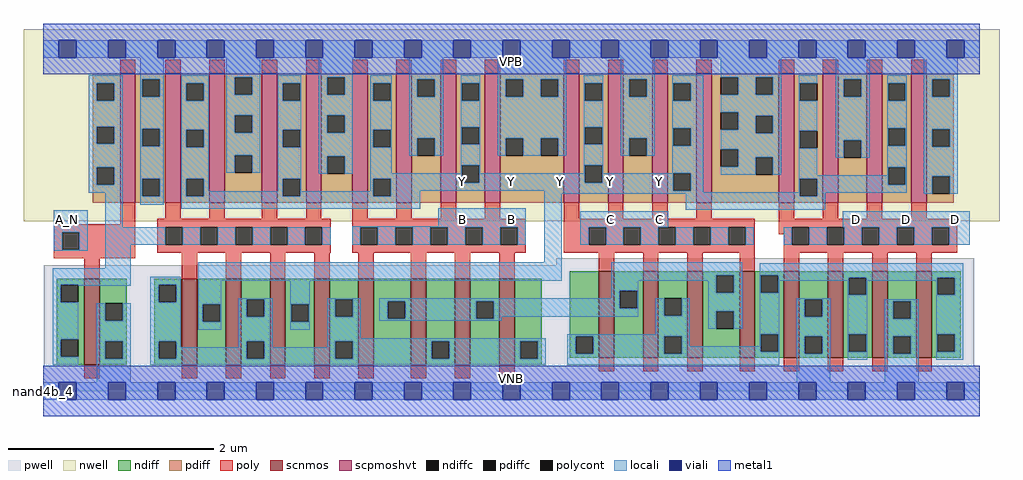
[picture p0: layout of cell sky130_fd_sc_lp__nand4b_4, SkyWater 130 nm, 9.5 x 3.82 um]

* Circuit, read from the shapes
.subckt sky130_fd_sc_lp__nand4b_4 A_N B C D VGND VNB VPB VPWR Y
XM1 VGND A_N n1 VNB sky130_fd_pr__nfet_01v8 w=0.84 l=0.15
XM2 Y n1 n2 VNB sky130_fd_pr__nfet_01v8 w=0.84 l=0.15 m=4
XM3 n3 B n2 VNB sky130_fd_pr__nfet_01v8 w=0.84 l=0.15 m=4
XM4 n3 C n4 VNB sky130_fd_pr__nfet_01v8 w=0.84 l=0.15 m=4
XM5 VGND D n4 VNB sky130_fd_pr__nfet_01v8 w=0.84 l=0.15 m=4
XM6 VPWR A_N n1 VPB sky130_fd_pr__pfet_01v8_hvt w=1.26 l=0.15
XM7 Y n1 VPWR VPB sky130_fd_pr__pfet_01v8_hvt w=1.26 l=0.15 m=4
XM8 Y B VPWR VPB sky130_fd_pr__pfet_01v8_hvt w=1.26 l=0.15 m=4
XM9 Y C VPWR VPB sky130_fd_pr__pfet_01v8_hvt w=1.26 l=0.15 m=4
XM10 Y D VPWR VPB sky130_fd_pr__pfet_01v8_hvt w=1.26 l=0.15 m=4
.ends

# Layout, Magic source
magic
tech sky130A
magscale 1 2
<< nwell >>
rect -38 331 1862 704
<< pwell >>
rect 999 245 1813 259
rect 1 49 1813 245
rect 0 0 1824 49
<< scnmos >>
rect 80 51 110 219
rect 270 51 300 219
rect 356 51 386 219
rect 442 51 472 219
rect 528 51 558 219
rect 614 51 644 219
rect 716 51 746 219
rect 802 51 832 219
rect 888 51 918 219
rect 1082 65 1112 233
rect 1168 65 1198 233
rect 1254 65 1284 233
rect 1356 65 1386 233
rect 1442 65 1472 233
rect 1528 65 1558 233
rect 1614 65 1644 233
rect 1700 65 1730 233
<< scpmoshvt >>
rect 150 367 180 619
rect 238 367 268 619
rect 324 367 354 619
rect 426 367 456 619
rect 512 367 542 619
rect 602 367 632 619
rect 688 367 718 619
rect 774 367 804 619
rect 860 367 890 619
rect 1014 367 1044 619
rect 1100 367 1130 619
rect 1186 367 1216 619
rect 1272 367 1302 619
rect 1432 367 1462 619
rect 1518 367 1548 619
rect 1604 367 1634 619
rect 1690 367 1720 619
<< ndiff >>
rect 27 207 80 219
rect 27 173 35 207
rect 69 173 80 207
rect 27 101 80 173
rect 27 67 35 101
rect 69 67 80 101
rect 27 51 80 67
rect 110 171 163 219
rect 110 137 121 171
rect 155 137 163 171
rect 110 97 163 137
rect 110 63 121 97
rect 155 63 163 97
rect 110 51 163 63
rect 217 207 270 219
rect 217 173 225 207
rect 259 173 270 207
rect 217 97 270 173
rect 217 63 225 97
rect 259 63 270 97
rect 217 51 270 63
rect 300 169 356 219
rect 300 135 311 169
rect 345 135 356 169
rect 300 51 356 135
rect 386 179 442 219
rect 386 145 397 179
rect 431 145 442 179
rect 386 97 442 145
rect 386 63 397 97
rect 431 63 442 97
rect 386 51 442 63
rect 472 169 528 219
rect 472 135 483 169
rect 517 135 528 169
rect 472 51 528 135
rect 558 179 614 219
rect 558 145 569 179
rect 603 145 614 179
rect 558 97 614 145
rect 558 63 569 97
rect 603 63 614 97
rect 558 51 614 63
rect 644 175 716 219
rect 644 141 671 175
rect 705 141 716 175
rect 644 51 716 141
rect 746 97 802 219
rect 746 63 757 97
rect 791 63 802 97
rect 746 51 802 63
rect 832 175 888 219
rect 832 141 843 175
rect 877 141 888 175
rect 832 51 888 141
rect 918 97 971 219
rect 918 63 929 97
rect 963 63 971 97
rect 1025 107 1082 233
rect 1025 73 1037 107
rect 1071 73 1082 107
rect 1025 65 1082 73
rect 1112 195 1168 233
rect 1112 161 1123 195
rect 1157 161 1168 195
rect 1112 65 1168 161
rect 1198 181 1254 233
rect 1198 147 1209 181
rect 1243 147 1254 181
rect 1198 107 1254 147
rect 1198 73 1209 107
rect 1243 73 1254 107
rect 1198 65 1254 73
rect 1284 225 1356 233
rect 1284 191 1311 225
rect 1345 191 1356 225
rect 1284 155 1356 191
rect 1284 121 1311 155
rect 1345 121 1356 155
rect 1284 65 1356 121
rect 1386 225 1442 233
rect 1386 191 1397 225
rect 1431 191 1442 225
rect 1386 111 1442 191
rect 1386 77 1397 111
rect 1431 77 1442 111
rect 1386 65 1442 77
rect 1472 179 1528 233
rect 1472 145 1483 179
rect 1517 145 1528 179
rect 1472 107 1528 145
rect 1472 73 1483 107
rect 1517 73 1528 107
rect 1472 65 1528 73
rect 1558 221 1614 233
rect 1558 187 1569 221
rect 1603 187 1614 221
rect 1558 111 1614 187
rect 1558 77 1569 111
rect 1603 77 1614 111
rect 1558 65 1614 77
rect 1644 175 1700 233
rect 1644 141 1655 175
rect 1689 141 1700 175
rect 1644 107 1700 141
rect 1644 73 1655 107
rect 1689 73 1700 107
rect 1644 65 1700 73
rect 1730 221 1787 233
rect 1730 187 1741 221
rect 1775 187 1787 221
rect 1730 111 1787 187
rect 1730 77 1741 111
rect 1775 77 1787 111
rect 1730 65 1787 77
rect 918 51 971 63
<< pdiff >>
rect 97 599 150 619
rect 97 565 105 599
rect 139 565 150 599
rect 97 515 150 565
rect 97 481 105 515
rect 139 481 150 515
rect 97 436 150 481
rect 97 402 105 436
rect 139 402 150 436
rect 97 367 150 402
rect 180 607 238 619
rect 180 573 193 607
rect 227 573 238 607
rect 180 511 238 573
rect 180 477 193 511
rect 227 477 238 511
rect 180 413 238 477
rect 180 379 193 413
rect 227 379 238 413
rect 180 367 238 379
rect 268 599 324 619
rect 268 565 279 599
rect 313 565 324 599
rect 268 509 324 565
rect 268 475 279 509
rect 313 475 324 509
rect 268 413 324 475
rect 268 379 279 413
rect 313 379 324 413
rect 268 367 324 379
rect 354 611 426 619
rect 354 577 373 611
rect 407 577 426 611
rect 354 537 426 577
rect 354 503 373 537
rect 407 503 426 537
rect 354 459 426 503
rect 354 425 373 459
rect 407 425 426 459
rect 354 367 426 425
rect 456 599 512 619
rect 456 565 467 599
rect 501 565 512 599
rect 456 509 512 565
rect 456 475 467 509
rect 501 475 512 509
rect 456 413 512 475
rect 456 379 467 413
rect 501 379 512 413
rect 456 367 512 379
rect 542 611 602 619
rect 542 577 553 611
rect 587 577 602 611
rect 542 537 602 577
rect 542 503 553 537
rect 587 503 602 537
rect 542 457 602 503
rect 542 423 553 457
rect 587 423 602 457
rect 542 367 602 423
rect 632 599 688 619
rect 632 565 643 599
rect 677 565 688 599
rect 632 509 688 565
rect 632 475 643 509
rect 677 475 688 509
rect 632 413 688 475
rect 632 379 643 413
rect 677 379 688 413
rect 632 367 688 379
rect 718 607 774 619
rect 718 573 729 607
rect 763 573 774 607
rect 718 492 774 573
rect 718 458 729 492
rect 763 458 774 492
rect 718 367 774 458
rect 804 599 860 619
rect 804 565 815 599
rect 849 565 860 599
rect 804 514 860 565
rect 804 480 815 514
rect 849 480 860 514
rect 804 440 860 480
rect 804 406 815 440
rect 849 406 860 440
rect 804 367 860 406
rect 890 607 1014 619
rect 890 573 901 607
rect 935 573 969 607
rect 1003 573 1014 607
rect 890 492 1014 573
rect 890 458 901 492
rect 935 458 969 492
rect 1003 458 1014 492
rect 890 367 1014 458
rect 1044 599 1100 619
rect 1044 565 1055 599
rect 1089 565 1100 599
rect 1044 514 1100 565
rect 1044 480 1055 514
rect 1089 480 1100 514
rect 1044 440 1100 480
rect 1044 406 1055 440
rect 1089 406 1100 440
rect 1044 367 1100 406
rect 1130 607 1186 619
rect 1130 573 1141 607
rect 1175 573 1186 607
rect 1130 492 1186 573
rect 1130 458 1141 492
rect 1175 458 1186 492
rect 1130 367 1186 458
rect 1216 599 1272 619
rect 1216 565 1227 599
rect 1261 565 1272 599
rect 1216 512 1272 565
rect 1216 478 1227 512
rect 1261 478 1272 512
rect 1216 424 1272 478
rect 1216 390 1227 424
rect 1261 390 1272 424
rect 1216 367 1272 390
rect 1302 611 1432 619
rect 1302 577 1319 611
rect 1353 577 1387 611
rect 1421 577 1432 611
rect 1302 543 1432 577
rect 1302 509 1319 543
rect 1353 536 1432 543
rect 1353 509 1387 536
rect 1302 502 1387 509
rect 1421 502 1432 536
rect 1302 471 1432 502
rect 1302 437 1319 471
rect 1353 455 1432 471
rect 1353 437 1387 455
rect 1302 421 1387 437
rect 1421 421 1432 455
rect 1302 367 1432 421
rect 1462 599 1518 619
rect 1462 565 1473 599
rect 1507 565 1518 599
rect 1462 507 1518 565
rect 1462 473 1473 507
rect 1507 473 1518 507
rect 1462 413 1518 473
rect 1462 379 1473 413
rect 1507 379 1518 413
rect 1462 367 1518 379
rect 1548 607 1604 619
rect 1548 573 1559 607
rect 1593 573 1604 607
rect 1548 488 1604 573
rect 1548 454 1559 488
rect 1593 454 1604 488
rect 1548 367 1604 454
rect 1634 599 1690 619
rect 1634 565 1645 599
rect 1679 565 1690 599
rect 1634 512 1690 565
rect 1634 478 1645 512
rect 1679 478 1690 512
rect 1634 436 1690 478
rect 1634 402 1645 436
rect 1679 402 1690 436
rect 1634 367 1690 402
rect 1720 607 1773 619
rect 1720 573 1731 607
rect 1765 573 1773 607
rect 1720 510 1773 573
rect 1720 476 1731 510
rect 1765 476 1773 510
rect 1720 418 1773 476
rect 1720 384 1731 418
rect 1765 384 1773 418
rect 1720 367 1773 384
<< ndiffc >>
rect 35 173 69 207
rect 35 67 69 101
rect 121 137 155 171
rect 121 63 155 97
rect 225 173 259 207
rect 225 63 259 97
rect 311 135 345 169
rect 397 145 431 179
rect 397 63 431 97
rect 483 135 517 169
rect 569 145 603 179
rect 569 63 603 97
rect 671 141 705 175
rect 757 63 791 97
rect 843 141 877 175
rect 929 63 963 97
rect 1037 73 1071 107
rect 1123 161 1157 195
rect 1209 147 1243 181
rect 1209 73 1243 107
rect 1311 191 1345 225
rect 1311 121 1345 155
rect 1397 191 1431 225
rect 1397 77 1431 111
rect 1483 145 1517 179
rect 1483 73 1517 107
rect 1569 187 1603 221
rect 1569 77 1603 111
rect 1655 141 1689 175
rect 1655 73 1689 107
rect 1741 187 1775 221
rect 1741 77 1775 111
<< pdiffc >>
rect 105 565 139 599
rect 105 481 139 515
rect 105 402 139 436
rect 193 573 227 607
rect 193 477 227 511
rect 193 379 227 413
rect 279 565 313 599
rect 279 475 313 509
rect 279 379 313 413
rect 373 577 407 611
rect 373 503 407 537
rect 373 425 407 459
rect 467 565 501 599
rect 467 475 501 509
rect 467 379 501 413
rect 553 577 587 611
rect 553 503 587 537
rect 553 423 587 457
rect 643 565 677 599
rect 643 475 677 509
rect 643 379 677 413
rect 729 573 763 607
rect 729 458 763 492
rect 815 565 849 599
rect 815 480 849 514
rect 815 406 849 440
rect 901 573 935 607
rect 969 573 1003 607
rect 901 458 935 492
rect 969 458 1003 492
rect 1055 565 1089 599
rect 1055 480 1089 514
rect 1055 406 1089 440
rect 1141 573 1175 607
rect 1141 458 1175 492
rect 1227 565 1261 599
rect 1227 478 1261 512
rect 1227 390 1261 424
rect 1319 577 1353 611
rect 1387 577 1421 611
rect 1319 509 1353 543
rect 1387 502 1421 536
rect 1319 437 1353 471
rect 1387 421 1421 455
rect 1473 565 1507 599
rect 1473 473 1507 507
rect 1473 379 1507 413
rect 1559 573 1593 607
rect 1559 454 1593 488
rect 1645 565 1679 599
rect 1645 478 1679 512
rect 1645 402 1679 436
rect 1731 573 1765 607
rect 1731 476 1765 510
rect 1731 384 1765 418
<< poly >>
rect 150 619 180 645
rect 238 619 268 645
rect 324 619 354 645
rect 426 619 456 645
rect 512 619 542 645
rect 602 619 632 645
rect 688 619 718 645
rect 774 619 804 645
rect 860 619 890 645
rect 1014 619 1044 645
rect 1100 619 1130 645
rect 1186 619 1216 645
rect 1272 619 1302 645
rect 1432 619 1462 645
rect 1518 619 1548 645
rect 1604 619 1634 645
rect 1690 619 1720 645
rect 150 325 180 367
rect 238 335 268 367
rect 324 335 354 367
rect 426 335 456 367
rect 512 335 542 367
rect 602 335 632 367
rect 688 335 718 367
rect 774 335 804 367
rect 860 335 890 367
rect 1014 335 1044 367
rect 1100 335 1130 367
rect 1186 335 1216 367
rect 1272 335 1302 367
rect 1432 335 1462 367
rect 1518 335 1548 367
rect 1604 335 1634 367
rect 1690 335 1720 367
rect 21 309 180 325
rect 21 275 37 309
rect 71 275 180 309
rect 21 259 180 275
rect 222 319 560 335
rect 222 285 238 319
rect 272 285 306 319
rect 340 285 374 319
rect 408 285 442 319
rect 476 285 510 319
rect 544 285 560 319
rect 222 269 560 285
rect 602 319 940 335
rect 602 285 618 319
rect 652 285 686 319
rect 720 285 754 319
rect 788 285 822 319
rect 856 285 890 319
rect 924 285 940 319
rect 602 269 940 285
rect 1014 319 1386 335
rect 1014 285 1062 319
rect 1096 285 1130 319
rect 1164 285 1198 319
rect 1232 285 1266 319
rect 1300 285 1334 319
rect 1368 285 1386 319
rect 1432 319 1780 335
rect 1432 305 1458 319
rect 1014 269 1386 285
rect 80 219 110 259
rect 270 219 300 269
rect 356 219 386 269
rect 442 219 472 269
rect 528 219 558 269
rect 614 219 644 269
rect 716 219 746 269
rect 802 219 832 269
rect 888 219 918 269
rect 1082 233 1112 269
rect 1168 233 1198 269
rect 1254 233 1284 269
rect 1356 233 1386 269
rect 1442 285 1458 305
rect 1492 285 1526 319
rect 1560 285 1594 319
rect 1628 285 1662 319
rect 1696 285 1730 319
rect 1764 285 1780 319
rect 1442 269 1780 285
rect 1442 233 1472 269
rect 1528 233 1558 269
rect 1614 233 1644 269
rect 1700 233 1730 269
rect 80 25 110 51
rect 270 25 300 51
rect 356 25 386 51
rect 442 25 472 51
rect 528 25 558 51
rect 614 25 644 51
rect 716 25 746 51
rect 802 25 832 51
rect 888 25 918 51
rect 1082 39 1112 65
rect 1168 39 1198 65
rect 1254 39 1284 65
rect 1356 39 1386 65
rect 1442 39 1472 65
rect 1528 39 1558 65
rect 1614 39 1644 65
rect 1700 39 1730 65
<< polycont >>
rect 37 275 71 309
rect 238 285 272 319
rect 306 285 340 319
rect 374 285 408 319
rect 442 285 476 319
rect 510 285 544 319
rect 618 285 652 319
rect 686 285 720 319
rect 754 285 788 319
rect 822 285 856 319
rect 890 285 924 319
rect 1062 285 1096 319
rect 1130 285 1164 319
rect 1198 285 1232 319
rect 1266 285 1300 319
rect 1334 285 1368 319
rect 1458 285 1492 319
rect 1526 285 1560 319
rect 1594 285 1628 319
rect 1662 285 1696 319
rect 1730 285 1764 319
<< locali >>
rect 0 649 31 683
rect 65 649 127 683
rect 161 649 223 683
rect 257 649 319 683
rect 353 649 415 683
rect 449 649 511 683
rect 545 649 607 683
rect 641 649 703 683
rect 737 649 799 683
rect 833 649 895 683
rect 929 649 991 683
rect 1025 649 1087 683
rect 1121 649 1183 683
rect 1217 649 1279 683
rect 1313 649 1375 683
rect 1409 649 1471 683
rect 1505 649 1567 683
rect 1601 649 1663 683
rect 1697 649 1759 683
rect 1793 649 1824 683
rect 89 599 155 615
rect 89 565 105 599
rect 139 565 155 599
rect 89 515 155 565
rect 89 481 105 515
rect 139 481 155 515
rect 89 436 155 481
rect 89 402 105 436
rect 139 402 155 436
rect 89 386 155 402
rect 21 309 87 352
rect 21 275 37 309
rect 71 275 87 309
rect 21 273 87 275
rect 121 319 155 386
rect 189 607 235 649
rect 189 573 193 607
rect 227 573 235 607
rect 189 511 235 573
rect 189 477 193 511
rect 227 477 235 511
rect 189 413 235 477
rect 189 379 193 413
rect 227 379 235 413
rect 189 363 235 379
rect 269 599 323 615
rect 269 565 279 599
rect 313 565 323 599
rect 269 509 323 565
rect 269 475 279 509
rect 313 475 323 509
rect 269 413 323 475
rect 357 611 423 649
rect 357 577 373 611
rect 407 577 423 611
rect 357 537 423 577
rect 357 503 373 537
rect 407 503 423 537
rect 357 459 423 503
rect 357 425 373 459
rect 407 425 423 459
rect 457 599 503 615
rect 457 565 467 599
rect 501 565 503 599
rect 457 509 503 565
rect 457 475 467 509
rect 501 475 503 509
rect 269 379 279 413
rect 313 389 323 413
rect 457 413 503 475
rect 537 611 603 649
rect 537 577 553 611
rect 587 577 603 611
rect 537 537 603 577
rect 537 503 553 537
rect 587 503 603 537
rect 537 457 603 503
rect 537 423 553 457
rect 587 423 603 457
rect 637 599 679 615
rect 637 565 643 599
rect 677 565 679 599
rect 637 509 679 565
rect 637 475 643 509
rect 677 475 679 509
rect 637 424 679 475
rect 713 607 779 649
rect 713 573 729 607
rect 763 573 779 607
rect 713 492 779 573
rect 713 458 729 492
rect 763 458 779 492
rect 813 599 851 615
rect 813 565 815 599
rect 849 565 851 599
rect 813 514 851 565
rect 813 480 815 514
rect 849 480 851 514
rect 813 440 851 480
rect 885 607 1019 649
rect 885 573 901 607
rect 935 573 969 607
rect 1003 573 1019 607
rect 885 492 1019 573
rect 885 458 901 492
rect 935 458 969 492
rect 1003 458 1019 492
rect 1053 599 1091 615
rect 1053 565 1055 599
rect 1089 565 1091 599
rect 1053 514 1091 565
rect 1053 480 1055 514
rect 1089 480 1091 514
rect 813 424 815 440
rect 457 389 467 413
rect 313 379 467 389
rect 501 389 503 413
rect 637 413 815 424
rect 637 389 643 413
rect 501 379 643 389
rect 677 406 815 413
rect 849 424 851 440
rect 1053 440 1091 480
rect 1125 607 1191 649
rect 1125 573 1141 607
rect 1175 573 1191 607
rect 1125 492 1191 573
rect 1125 458 1141 492
rect 1175 458 1191 492
rect 1225 599 1285 615
rect 1225 565 1227 599
rect 1261 565 1285 599
rect 1225 512 1285 565
rect 1225 478 1227 512
rect 1261 478 1285 512
rect 1053 424 1055 440
rect 849 406 1055 424
rect 1089 424 1091 440
rect 1225 424 1285 478
rect 1089 406 1227 424
rect 677 390 1227 406
rect 1261 390 1285 424
rect 1319 611 1437 649
rect 1353 577 1387 611
rect 1421 577 1437 611
rect 1319 543 1437 577
rect 1353 536 1437 543
rect 1353 509 1387 536
rect 1319 502 1387 509
rect 1421 502 1437 536
rect 1319 471 1437 502
rect 1353 455 1437 471
rect 1353 437 1387 455
rect 1319 421 1387 437
rect 1421 421 1437 455
rect 1471 599 1507 615
rect 1471 565 1473 599
rect 1471 507 1507 565
rect 1471 473 1473 507
rect 677 379 734 390
rect 269 355 734 379
rect 976 387 1285 390
rect 1471 420 1507 473
rect 1543 607 1609 649
rect 1543 573 1559 607
rect 1593 573 1609 607
rect 1543 488 1609 573
rect 1543 454 1559 488
rect 1593 454 1609 488
rect 1643 599 1681 615
rect 1643 565 1645 599
rect 1679 565 1681 599
rect 1643 512 1681 565
rect 1643 478 1645 512
rect 1679 478 1681 512
rect 1643 436 1681 478
rect 1643 420 1645 436
rect 1471 413 1645 420
rect 1471 387 1473 413
rect 976 384 1473 387
rect 769 321 940 356
rect 602 319 940 321
rect 121 285 238 319
rect 272 285 306 319
rect 340 285 374 319
rect 408 285 442 319
rect 476 285 510 319
rect 544 285 560 319
rect 602 285 618 319
rect 652 285 686 319
rect 720 285 754 319
rect 788 285 822 319
rect 856 285 890 319
rect 924 285 940 319
rect 121 239 171 285
rect 976 251 1010 384
rect 1251 379 1473 384
rect 1507 402 1645 413
rect 1679 402 1681 436
rect 1507 386 1681 402
rect 1715 607 1781 649
rect 1715 573 1731 607
rect 1765 573 1781 607
rect 1715 510 1781 573
rect 1715 476 1731 510
rect 1765 476 1781 510
rect 1715 418 1781 476
rect 1507 379 1523 386
rect 1715 384 1731 418
rect 1765 384 1781 418
rect 1251 353 1523 379
rect 1046 319 1217 350
rect 1557 319 1804 350
rect 1046 285 1062 319
rect 1096 285 1130 319
rect 1164 285 1198 319
rect 1232 285 1266 319
rect 1300 285 1334 319
rect 1368 285 1384 319
rect 1442 285 1458 319
rect 1492 285 1526 319
rect 1560 285 1594 319
rect 1628 285 1662 319
rect 1696 285 1730 319
rect 1764 285 1804 319
rect 19 207 171 239
rect 19 173 35 207
rect 69 205 171 207
rect 209 207 268 223
rect 19 101 69 173
rect 209 173 225 207
rect 259 173 268 207
rect 19 67 35 101
rect 19 51 69 67
rect 105 137 121 171
rect 155 137 171 171
rect 105 97 171 137
rect 105 63 121 97
rect 155 63 171 97
rect 105 17 171 63
rect 209 97 268 173
rect 302 215 1010 251
rect 1106 225 1361 251
rect 1106 215 1311 225
rect 302 169 347 215
rect 302 135 311 169
rect 345 135 347 169
rect 302 119 347 135
rect 381 179 447 181
rect 381 145 397 179
rect 431 145 447 179
rect 209 63 225 97
rect 259 85 268 97
rect 381 97 447 145
rect 481 169 519 215
rect 1106 195 1159 215
rect 1106 181 1123 195
rect 481 135 483 169
rect 517 135 519 169
rect 481 119 519 135
rect 553 179 619 181
rect 553 145 569 179
rect 603 145 619 179
rect 381 85 397 97
rect 259 63 397 85
rect 431 85 447 97
rect 553 103 619 145
rect 655 175 1123 181
rect 655 141 671 175
rect 705 141 843 175
rect 877 161 1123 175
rect 1157 161 1159 195
rect 1295 191 1311 215
rect 1345 191 1361 225
rect 877 145 1159 161
rect 1193 147 1209 181
rect 1243 147 1259 181
rect 877 141 893 145
rect 655 137 893 141
rect 1193 111 1259 147
rect 1295 155 1361 191
rect 1295 121 1311 155
rect 1345 121 1361 155
rect 1395 225 1791 249
rect 1395 191 1397 225
rect 1431 221 1791 225
rect 1431 215 1569 221
rect 1431 191 1433 215
rect 1021 107 1259 111
rect 553 97 979 103
rect 553 85 569 97
rect 431 63 569 85
rect 603 63 757 97
rect 791 63 929 97
rect 963 63 979 97
rect 209 51 979 63
rect 1021 73 1037 107
rect 1071 73 1209 107
rect 1243 87 1259 107
rect 1395 111 1433 191
rect 1567 187 1569 215
rect 1603 215 1741 221
rect 1603 187 1605 215
rect 1395 87 1397 111
rect 1243 77 1397 87
rect 1431 77 1433 111
rect 1243 73 1433 77
rect 1021 51 1433 73
rect 1467 179 1533 181
rect 1467 145 1483 179
rect 1517 145 1533 179
rect 1467 107 1533 145
rect 1467 73 1483 107
rect 1517 73 1533 107
rect 1467 17 1533 73
rect 1567 111 1605 187
rect 1739 187 1741 215
rect 1775 187 1791 221
rect 1567 77 1569 111
rect 1603 77 1605 111
rect 1567 61 1605 77
rect 1639 175 1705 179
rect 1639 141 1655 175
rect 1689 141 1705 175
rect 1639 107 1705 141
rect 1639 73 1655 107
rect 1689 73 1705 107
rect 1639 17 1705 73
rect 1739 111 1791 187
rect 1739 77 1741 111
rect 1775 77 1791 111
rect 1739 61 1791 77
rect 0 -17 31 17
rect 65 -17 127 17
rect 161 -17 223 17
rect 257 -17 319 17
rect 353 -17 415 17
rect 449 -17 511 17
rect 545 -17 607 17
rect 641 -17 703 17
rect 737 -17 799 17
rect 833 -17 895 17
rect 929 -17 991 17
rect 1025 -17 1087 17
rect 1121 -17 1183 17
rect 1217 -17 1279 17
rect 1313 -17 1375 17
rect 1409 -17 1471 17
rect 1505 -17 1567 17
rect 1601 -17 1663 17
rect 1697 -17 1759 17
rect 1793 -17 1824 17
<< viali >>
rect 31 649 65 683
rect 127 649 161 683
rect 223 649 257 683
rect 319 649 353 683
rect 415 649 449 683
rect 511 649 545 683
rect 607 649 641 683
rect 703 649 737 683
rect 799 649 833 683
rect 895 649 929 683
rect 991 649 1025 683
rect 1087 649 1121 683
rect 1183 649 1217 683
rect 1279 649 1313 683
rect 1375 649 1409 683
rect 1471 649 1505 683
rect 1567 649 1601 683
rect 1663 649 1697 683
rect 1759 649 1793 683
rect 31 -17 65 17
rect 127 -17 161 17
rect 223 -17 257 17
rect 319 -17 353 17
rect 415 -17 449 17
rect 511 -17 545 17
rect 607 -17 641 17
rect 703 -17 737 17
rect 799 -17 833 17
rect 895 -17 929 17
rect 991 -17 1025 17
rect 1087 -17 1121 17
rect 1183 -17 1217 17
rect 1279 -17 1313 17
rect 1375 -17 1409 17
rect 1471 -17 1505 17
rect 1567 -17 1601 17
rect 1663 -17 1697 17
rect 1759 -17 1793 17
<< metal1 >>
rect 0 683 1824 715
rect 0 649 31 683
rect 65 649 127 683
rect 161 649 223 683
rect 257 649 319 683
rect 353 649 415 683
rect 449 649 511 683
rect 545 649 607 683
rect 641 649 703 683
rect 737 649 799 683
rect 833 649 895 683
rect 929 649 991 683
rect 1025 649 1087 683
rect 1121 649 1183 683
rect 1217 649 1279 683
rect 1313 649 1375 683
rect 1409 649 1471 683
rect 1505 649 1567 683
rect 1601 649 1663 683
rect 1697 649 1759 683
rect 1793 649 1824 683
rect 0 617 1824 649
rect 0 17 1824 49
rect 0 -17 31 17
rect 65 -17 127 17
rect 161 -17 223 17
rect 257 -17 319 17
rect 353 -17 415 17
rect 449 -17 511 17
rect 545 -17 607 17
rect 641 -17 703 17
rect 737 -17 799 17
rect 833 -17 895 17
rect 929 -17 991 17
rect 1025 -17 1087 17
rect 1121 -17 1183 17
rect 1217 -17 1279 17
rect 1313 -17 1375 17
rect 1409 -17 1471 17
rect 1505 -17 1567 17
rect 1601 -17 1663 17
rect 1697 -17 1759 17
rect 1793 -17 1824 17
rect 0 -49 1824 -17
<< labels >>
flabel pwell s 0 0 1824 49 0 FreeSans 200 0 0 0 VNB
port 6 nsew ground bidirectional
flabel nwell s 0 617 1824 666 0 FreeSans 200 0 0 0 VPB
port 7 nsew power bidirectional
rlabel comment s 0 0 0 0 4 nand4b_4
flabel metal1 s 0 617 1824 666 0 FreeSans 340 0 0 0 VPWR
port 8 nsew power bidirectional
flabel metal1 s 0 0 1824 49 0 FreeSans 340 0 0 0 VGND
port 5 nsew ground bidirectional
flabel locali s 799 316 833 350 0 FreeSans 340 0 0 0 B
port 2 nsew signal input
flabel locali s 895 316 929 350 0 FreeSans 340 0 0 0 B
port 2 nsew signal input
flabel locali s 1087 316 1121 350 0 FreeSans 340 0 0 0 C
port 3 nsew signal input
flabel locali s 1183 316 1217 350 0 FreeSans 340 0 0 0 C
port 3 nsew signal input
flabel locali s 1567 316 1601 350 0 FreeSans 340 0 0 0 D
port 4 nsew signal input
flabel locali s 1663 316 1697 350 0 FreeSans 340 0 0 0 D
port 4 nsew signal input
flabel locali s 1759 316 1793 350 0 FreeSans 340 0 0 0 D
port 4 nsew signal input
flabel locali s 31 316 65 350 0 FreeSans 340 0 0 0 A_N
port 1 nsew signal input
flabel locali s 799 390 833 424 0 FreeSans 340 0 0 0 Y
port 9 nsew signal output
flabel locali s 895 390 929 424 0 FreeSans 340 0 0 0 Y
port 9 nsew signal output
flabel locali s 991 390 1025 424 0 FreeSans 340 0 0 0 Y
port 9 nsew signal output
flabel locali s 1087 390 1121 424 0 FreeSans 340 0 0 0 Y
port 9 nsew signal output
flabel locali s 1183 390 1217 424 0 FreeSans 340 0 0 0 Y
port 9 nsew signal output
<< properties >>
string LEFsite unit
string LEFclass CORE
string FIXED_BBOX 0 0 1824 666
string GDS_FILE $PDKPATH/libs.ref/sky130_fd_sc_lp/gds/sky130_fd_sc_lp.gds
string LEFsymmetry X Y R90
string GDS_END 761840
string GDS_START 746138
<< end >>
